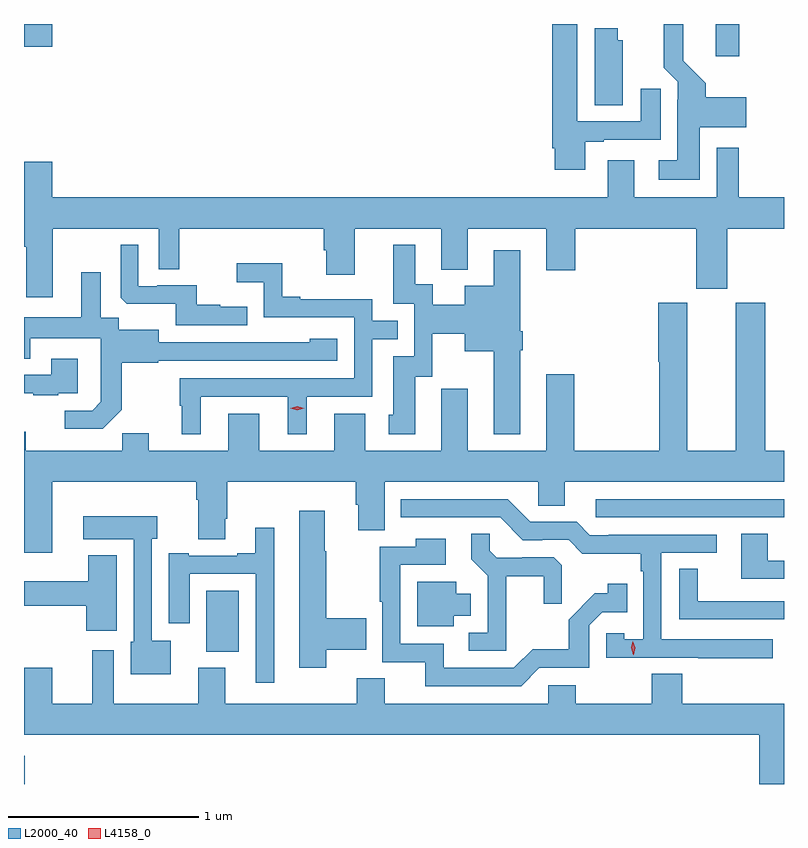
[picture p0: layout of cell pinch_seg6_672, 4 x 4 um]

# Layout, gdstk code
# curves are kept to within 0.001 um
import gdstk
lib = gdstk.Library(unit=1e-6, precision=1e-09)
def R(c, l, rs):  # rectangles x0, y0, x1, y1
    for r in rs: c.add(gdstk.rectangle(r[:2], r[2:], *l))
def P(c, l, *ps):  # polygons
    for p in ps: c.add(gdstk.Polygon(p, *l))
L2000_40 = (2000, 40)
L4158_0 = (4158, 0)

pinch_seg6_672 = lib.new_cell('pinch_seg6_672')
R(pinch_seg6_672, L2000_40, [(488.699,936.421,488.702,936.571), (489.659,937.118,489.829,937.438), (491.709,937.824,492.699,937.92), (492.341,940.251,492.464,940.421), (488.699,940.302,488.848,940.421)])
P(pinch_seg6_672, L2000_40, [(492.256,939.878),(492.499,939.878),(492.499,940.036),(492.287,940.036),(492.287,940.11),(492.169,940.228),(492.169,940.421),(492.067,940.421),(492.067,940.19),(492.141,940.116),(492.141,940.022),(492.137,940.022),(492.137,939.703),(492.039,939.703),(492.039,939.602),(492.256,939.602)],
  [(491.653,939.801),(491.749,939.801),(491.749,939.813),(492.049,939.813),(492.049,940.081),(491.945,940.081),(491.945,939.909),(491.611,939.909),(491.611,940.421),(491.48,940.421),(491.48,939.766),(491.492,939.766),(491.492,939.654),(491.653,939.654)],
  [(491.851,940.335),(491.824,940.335),(491.824,940.399),(491.702,940.399),(491.702,939.994),(491.851,939.994)],
  [(488.851,939.344),(489.408,939.344),(489.408,939.13),(489.517,939.13),(489.517,939.344),(490.277,939.344),(490.277,939.231),(490.289,939.231),(490.289,939.102),(490.441,939.102),(490.441,939.344),(490.895,939.344),(490.895,939.128),(491.035,939.128),(491.035,939.344),(491.447,939.344),(491.447,939.126),(491.6,939.126),(491.6,939.344),(492.236,939.344),(492.236,939.027),(492.4,939.027),(492.4,939.344),(492.699,939.344),(492.699,939.508),(492.461,939.508),(492.461,939.769),(492.345,939.769),(492.345,939.508),(491.911,939.508),(491.911,939.703),(491.771,939.703),(491.771,939.508),(488.848,939.508),(488.848,939.697),(488.699,939.697),(488.699,939.248),(488.711,939.248),(488.711,938.982),(488.851,938.982)],
  [(489.875,938.932),(489.731,938.932),(489.731,938.944),(489.608,938.944),(489.608,939.045),(489.4,939.045),(489.4,939.042),(489.3,939.042),(489.3,939.259),(489.207,939.259),(489.207,938.979),(489.239,938.948),(489.498,938.948),(489.498,938.835),(489.875,938.835)],
  [(491.311,938.703),(491.324,938.703),(491.324,938.803),(491.311,938.803),(491.311,939.229),(491.171,939.229),(491.171,939.043),(491.018,939.043),(491.018,938.944),(490.849,938.944),(490.849,939.05),(490.759,939.05),(490.759,939.259),(490.643,939.259),(490.643,938.949),(490.752,938.949),(490.752,938.673),(490.643,938.673),(490.643,938.364),(490.619,938.364),(490.619,938.262),(490.759,938.262),(490.759,938.565),(490.848,938.565),(490.848,938.792),(491.018,938.792),(491.018,938.699),(491.171,938.699),(491.171,938.261),(491.311,938.261)],
  [(489.628,938.46),(490.088,938.46),(490.088,938.261),(490.186,938.261),(490.186,938.46),(490.533,938.46),(490.533,938.763),(490.667,938.763),(490.667,938.859),(490.533,938.859),(490.533,938.973),(490.153,938.973),(490.153,938.986),(490.059,938.986),(490.059,939.161),(489.819,939.161),(489.819,939.062),(489.96,939.062),(489.96,938.877),(490.437,938.877),(490.437,938.556),(489.519,938.556),(489.519,938.412),(489.53,938.412),(489.53,938.261),(489.628,938.261)],
  [(489.213,938.391),(489.213,938.637),(489.405,938.637),(489.405,938.649),(490.348,938.649),(490.348,938.764),(490.203,938.764),(490.203,938.746),(489.409,938.745),(489.409,938.812),(489.198,938.812),(489.198,938.876),(489.103,938.876),(489.103,939.115),(488.999,939.115),(488.999,938.878),(488.699,938.878),(488.699,938.659),(488.731,938.659),(488.731,938.768),(489.102,938.768),(489.102,938.527),(489.104,938.527),(489.104,938.432),(489.057,938.385),(488.913,938.385),(488.913,938.291),(489.113,938.291)],
  [(488.848,938.012),(489.605,938.012),(489.605,937.916),(489.617,937.916),(489.617,937.708),(489.757,937.708),(489.757,937.816),(489.77,937.816),(489.77,938.012),(490.445,938.012),(490.445,937.89),(490.457,937.89),(490.457,937.756),(490.597,937.756),(490.597,938.012),(491.406,938.012),(491.406,937.885),(491.545,937.885),(491.545,938.012),(492.699,938.012),(492.699,938.176),(492.599,938.176),(492.599,938.955),(492.446,938.955),(492.446,938.176),(492.19,938.176),(492.19,938.955),(492.038,938.955),(492.038,938.643),(492.043,938.643),(492.043,938.176),(491.595,938.176),(491.595,938.578),(491.447,938.578),(491.447,938.176),(491.035,938.176),(491.035,938.5),(490.896,938.5),(490.896,938.387),(490.895,938.387),(490.895,938.176),(490.495,938.176),(490.495,938.371),(490.331,938.371),(490.331,938.176),(489.937,938.176),(489.937,938.371),(489.773,938.371),(489.773,938.176),(489.355,938.176),(489.355,938.267),(489.217,938.267),(489.217,938.176),(488.707,938.176),(488.707,938.275),(488.699,938.275),(488.699,937.638),(488.848,937.638)],
  [(488.879,938.478),(488.983,938.478),(488.983,938.659),(488.843,938.659),(488.843,938.574),(488.699,938.574),(488.699,938.477),(488.747,938.477),(488.747,938.466),(488.879,938.466)],
  [(492.64,937.182),(492.054,937.182),(492.054,937.638),(492.346,937.638),(492.346,937.734),(491.776,937.734),(491.776,937.731),(491.676,937.731),(491.607,937.8),(491.364,937.8),(491.244,937.92),(490.682,937.92),(490.682,937.824),(491.205,937.824),(491.325,937.704),(491.426,937.704),(491.426,937.707),(491.565,937.707),(491.638,937.634),(491.946,937.634),(491.946,937.541),(491.958,937.541),(491.958,937.183),(491.859,937.183),(491.859,937.215),(491.763,937.215),(491.763,937.086),(492.247,937.086),(492.247,937.084),(492.64,937.084)],
  [(490.29,937.127),(490.499,937.127),(490.499,937.293),(490.29,937.293),(490.29,937.645),(490.282,937.645),(490.282,937.858),(490.148,937.858),(490.148,937.032),(490.29,937.032)],
  [(489.472,937.174),(489.372,937.174),(489.372,937.713),(489.4,937.713),(489.4,937.831),(489.012,937.831),(489.012,937.709),(489.276,937.709),(489.276,937.17),(489.26,937.17),(489.26,936.998),(489.472,936.998)],
  [(490.015,937.771),(489.917,937.771),(489.917,937.636),(489.821,937.636),(489.821,937.623),(489.565,937.623),(489.565,937.636),(489.461,937.636),(489.461,937.266),(489.571,937.266),(489.571,937.527),(489.918,937.527),(489.918,936.954),(490.015,936.954)],
  [(491.237,937.514),(491.434,937.514),(491.434,937.371),(491.528,937.371),(491.528,937.573),(491.487,937.614),(491.322,937.614),(491.322,937.611),(491.188,937.611),(491.151,937.648),(491.151,937.739),(491.053,937.739),(491.053,937.603),(491.139,937.517),(491.139,937.218),(491.04,937.218),(491.04,937.122),(491.237,937.122)],
  [(492.699,937.596),(492.613,937.596),(492.613,937.739),(492.473,937.739),(492.473,937.5),(492.699,937.5)],
  [(491.412,937.032),(491.673,937.032),(491.673,937.257),(491.742,937.326),(491.873,937.326),(491.873,937.474),(491.772,937.474),(491.772,937.424),(491.702,937.424),(491.565,937.286),(491.565,937.131),(491.376,937.131),(491.277,937.032),(490.909,937.032),(490.909,937.158),(490.68,937.158),(490.68,937.575),(490.918,937.575),(490.918,937.711),(490.762,937.711),(490.762,937.671),(490.572,937.671),(490.572,937.381),(490.584,937.381),(490.584,937.062),(490.811,937.062),(490.811,936.936),(491.316,936.936)],
  [(489.187,937.624),(489.038,937.624),(489.038,937.489),(488.699,937.489),(488.699,937.36),(489.026,937.36),(489.026,937.227),(489.187,937.227)],
  [(492.699,937.382),(492.641,937.382),(492.641,937.383),(492.246,937.383),(492.246,937.553),(492.147,937.553),(492.147,937.287),(492.699,937.287)],
  [(490.96,937.307),(491.05,937.307),(491.05,937.423),(490.975,937.423),(490.975,937.486),(490.769,937.486),(490.769,937.25),(490.96,937.25)],
  [(492.699,936.844),(492.164,936.844),(492.164,937.001),(492.004,937.001),(492.004,936.844),(491.604,936.844),(491.604,936.942),(491.457,936.942),(491.457,936.844),(490.597,936.844),(490.597,936.977),(490.45,936.977),(490.45,936.844),(489.757,936.844),(489.757,937.033),(489.617,937.033),(489.617,936.844),(489.172,936.844),(489.172,937.126),(489.059,937.126),(489.059,936.844),(488.848,936.844),(488.848,937.033),(488.699,937.033),(488.699,936.68),(492.569,936.68),(492.569,936.421),(492.699,936.421)])
P(pinch_seg6_672, L4158_0, [(491.906,937.101),(491.895,937.137),(491.904,937.173),(491.904,937.173),(491.904,937.173),(491.915,937.138),(491.907,937.101),(491.907,937.101)],
  [(490.137,938.388),(490.101,938.398),(490.101,938.398),(490.101,938.398),(490.137,938.408),(490.173,938.398),(490.173,938.398),(490.173,938.398)])

lib.write_gds('pinch_seg6_672.gds')
